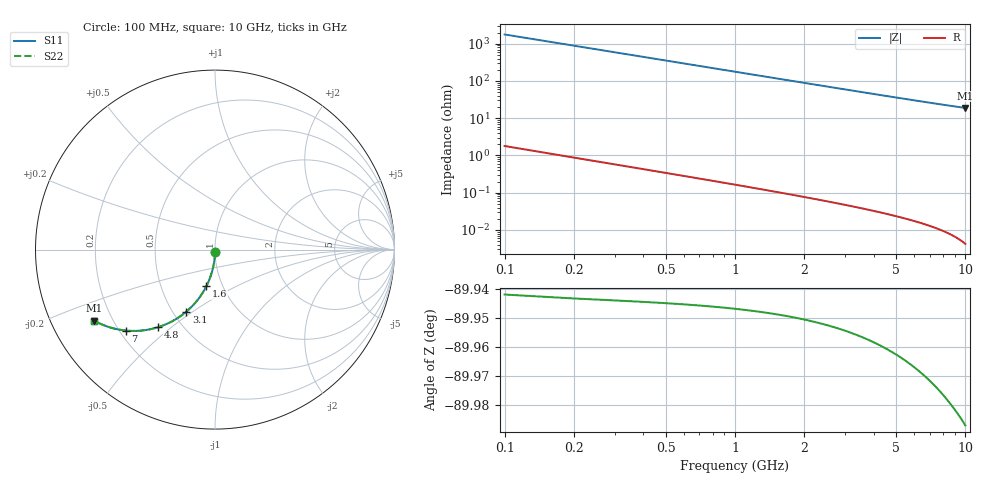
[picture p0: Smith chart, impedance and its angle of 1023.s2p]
# Hz S RI R 50.00
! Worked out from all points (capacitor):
!   100 points, 100 MHz to 10 GHz, reference 50 ohm
!   read as one part in shunt: C = 895 fF near 100 MHz
!   lowest |Z| = 18.9 ohm at 10 GHz (marker M1)
!   S11 on the Smith chart (normalised r, x): 100 MHz: 1.00, -0.03; 1.6 GHz: 0.84, -0.36; 3.1 GHz: 0.58, -0.47; 4.8 GHz: 0.37, -0.45; 7 GHz: 0.22, -0.37; 10 GHz: 0.13, -0.27
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1e8  0.000395 -0.0134  0.9992 -0.0147  0.9992 -0.0147  0.000395 -0.0134
2e8  -0.000207 -0.0267  0.9986 -0.0295  0.9986 -0.0295  -0.000207 -0.0267
3e8  -0.0012 -0.0401  0.9976 -0.0442  0.9976 -0.0442  -0.0012 -0.0401
4e8  -0.00259 -0.0534  0.9962 -0.0588  0.9962 -0.0588  -0.00259 -0.0534
5e8  -0.00436 -0.0666  0.9944 -0.0734  0.9944 -0.0734  -0.00436 -0.0666
6e8  -0.00652 -0.0797  0.9922 -0.0879  0.9922 -0.0879  -0.00652 -0.0797
7e8  -0.00906 -0.0927  0.9897 -0.1023  0.9897 -0.1023  -0.00906 -0.0927
9e8  -0.0152 -0.1185  0.9834 -0.1308  0.9834 -0.1308  -0.0152 -0.1185
1.2e9  -0.0272 -0.156  0.9714 -0.1724  0.9714 -0.1724  -0.0272 -0.156
1.6e9  -0.0477 -0.2034  0.9507 -0.2252  0.9507 -0.2252  -0.0477 -0.2034
1.8e9  -0.0598 -0.2258  0.9386 -0.2504  0.9386 -0.2504  -0.0598 -0.2258
2.4e9  -0.1021 -0.287  0.8961 -0.3198  0.8961 -0.3198  -0.1021 -0.287
3.1e9  -0.1599 -0.3458  0.8379 -0.3882  0.8379 -0.3882  -0.1599 -0.3458
3.4e9  -0.1865 -0.3666  0.8111 -0.4133  0.8111 -0.4133  -0.1865 -0.3666
4.1e9  -0.2507 -0.4055  0.7464 -0.4619  0.7464 -0.4619  -0.2507 -0.4055
4.8e9  -0.3152 -0.4317  0.6812 -0.4978  0.6812 -0.4978  -0.3152 -0.4317
5.1e9  -0.3423 -0.4394  0.6538 -0.5097  0.6538 -0.5097  -0.3423 -0.4394
5.9e9  -0.4117 -0.4512  0.5835 -0.5327  0.5835 -0.5327  -0.4117 -0.4512
6.7e9  -0.4757 -0.4525  0.5186 -0.5454  0.5186 -0.5454  -0.4757 -0.4525
7e9  -0.4981 -0.4508  0.4958 -0.5479  0.4958 -0.5479  -0.4981 -0.4508
8.4e9  -0.5907 -0.4316  0.4009 -0.5489  0.4009 -0.5489  -0.5907 -0.4316
1e10  -0.6742 -0.3953  0.3143 -0.5363  0.3143 -0.5363  -0.6742 -0.3953
